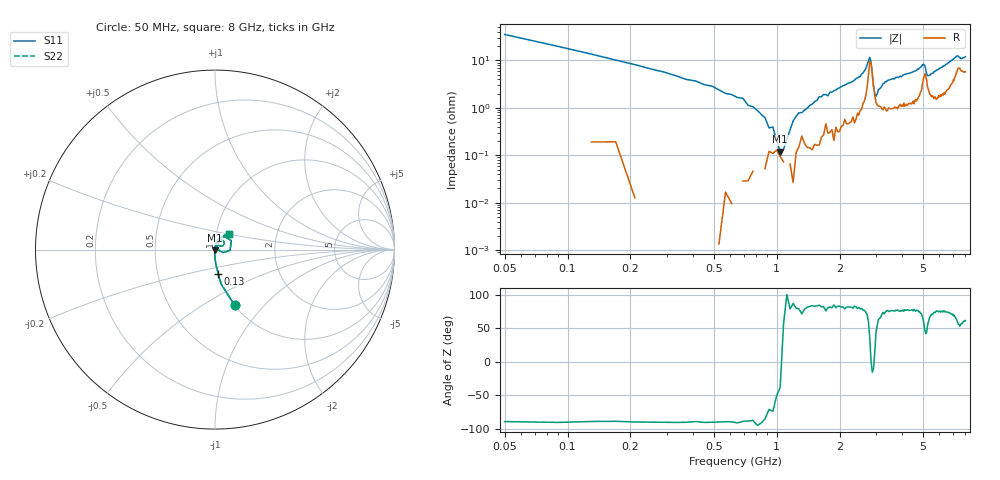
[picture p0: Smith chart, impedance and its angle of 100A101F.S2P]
!  American Technical Ceramics  Date:  3/13/98
!  One Norden Lane
!  Huntington Station,  NY.  11746-2102
!  Tel:  (516) 547-5700  Fax:  (516) 547-5748
!  Part Number  100A101F
!  Description: Porcelain, High Q, Low ESR
!  Application: Bypass, Coupling, Timing, Feedback
!  Tuning, Impedance Match, Blocking
# GHZ S DB R 50
! Freq  |S11|  S11 Ph  |S21|  S21 Ph  |S12|  S12 Ph  |S22|  S22 Ph
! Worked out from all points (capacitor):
!   201 points, 50 MHz to 8 GHz, reference 50 ohm
!   read as one part in series: C = 88.9 pF near 90 MHz
!   lowest |Z| = 120 mohm at 1.04 GHz (marker M1)
!   series resonance near 1.056 GHz, so ESL is about 260 pH
!   S11 on the Smith chart (normalised r, x): 50 MHz: 1.00, -0.70; 130 MHz: 1.00, -0.27; 8 GHz: 1.15, +0.21
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0.05  -9.68 -70.5  -0.57 19.4  -0.57 19.4  -9.68 -70.5
0.13  -17.39 -82.6  -0.12 7.7  -0.12 7.7  -17.39 -82.6
0.37  -27.41 -90.5  -0.02 2.1  -0.02 2.1  -27.41 -90.5
0.88  -41.12 -97.7  -0.02 0.2  -0.02 0.2  -41.12 -97.7
1.04  -50.23 -98.0  -0.02 -0.1  -0.02 -0.1  -50.23 -98.0
1.08  -52.94 -112.0  -0.02 -0.2  -0.02 -0.2  -52.94 -112.0
1.16  -67.14 68.3  -0.01 -0.4  -0.01 -0.4  -67.14 68.3
1.2  -55.18 109.9  -0.01 -0.5  -0.01 -0.5  -55.18 109.9
1.32  -45.55 84.1  -0.04 -0.6  -0.04 -0.6  -45.55 84.1
1.4  -42.60 84.3  -0.02 -0.7  -0.02 -0.7  -42.60 84.3
2.71  -22.55 63.5  -0.24 -4.5  -0.24 -4.5  -22.55 63.5
2.79  -19.66 29.0  -0.77 -4.0  -0.77 -4.0  -19.66 29.0
2.83  -21.50 -2.9  -0.78 -0.4  -0.78 -0.4  -21.50 -2.9
2.95  -34.81 4.6  -0.16 -0.5  -0.16 -0.5  -34.81 4.6
2.99  -35.34 29.2  -0.09 -0.9  -0.09 -0.9  -35.34 29.2
3.27  -30.61 66.5  -0.09 -2.0  -0.09 -2.0  -30.61 66.5
4.03  -27.63 68.7  -0.08 -3.2  -0.08 -3.2  -27.63 68.7
5.06  -23.39 46.3  -0.39 -4.7  -0.39 -4.7  -23.39 46.3
5.26  -29.21 34.7  -0.27 -3.1  -0.27 -3.1  -29.21 34.7
5.38  -29.56 50.7  -0.19 -3.4  -0.19 -3.4  -29.56 50.7
6.69  -22.33 61.9  -0.21 -5.8  -0.21 -5.8  -22.33 61.9
8  -18.56 49.4  -0.40 -5.8  -0.40 -5.8  -18.56 49.4
